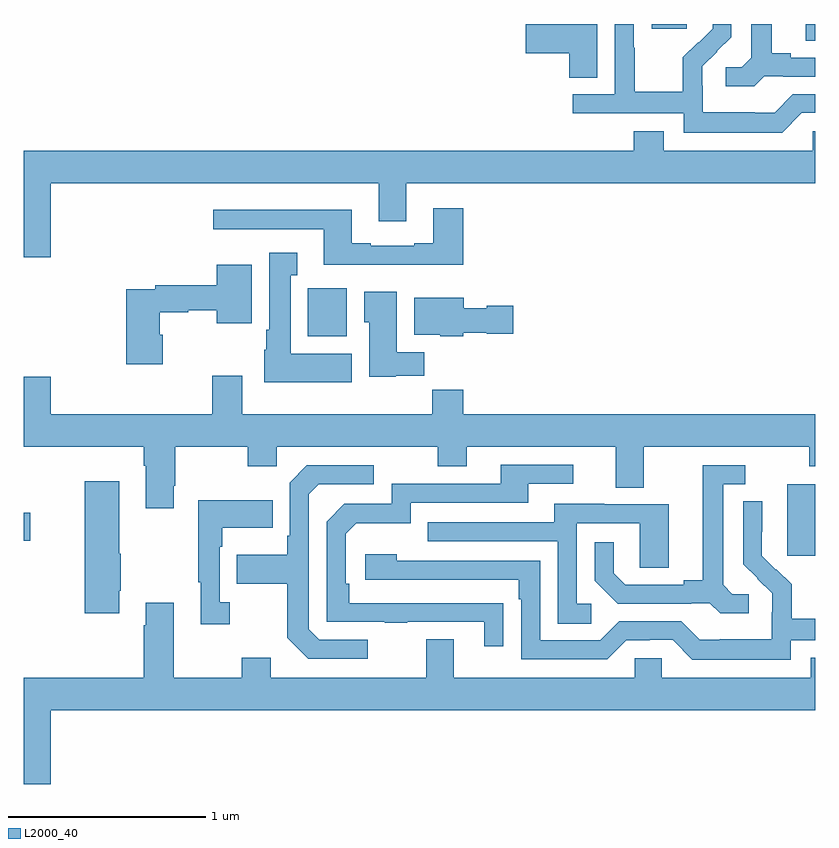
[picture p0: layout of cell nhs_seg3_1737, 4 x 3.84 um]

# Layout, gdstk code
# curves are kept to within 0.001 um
import gdstk
lib = gdstk.Library(unit=1e-6, precision=1e-09)
def R(c, l, rs):  # rectangles x0, y0, x1, y1
    for r in rs: c.add(gdstk.rectangle(r[:2], r[2:], *l))
def P(c, l, *ps):  # polygons
    for p in ps: c.add(gdstk.Polygon(p, *l))
L2000_40 = (2000, 40)

nhs_seg3_1737 = lib.new_cell('nhs_seg3_1737')
R(nhs_seg3_1737, L2000_40, [(204.86,685.713,205,686.074), (201,685.787,201.031,685.929), (202.436,686.822,202.633,687.064), (204.953,688.315,205,688.4), (204.173,688.377,204.352,688.4)])
P(nhs_seg3_1737, L2000_40, [(204.744,688.137),(204.838,688.137),(204.838,688.134),(205,688.134),(205,688.23),(204.877,688.23),(204.877,688.253),(204.781,688.253),(204.781,688.4),(204.677,688.4),(204.677,688.229),(204.63,688.182),(204.549,688.182),(204.549,688.085),(204.692,688.085)],
  [(204.933,687.951),(205,687.951),(205,688.044),(204.888,688.044),(204.795,687.951),(204.695,687.951),(204.695,687.955),(204.432,687.955),(204.432,688.089),(204.43,688.089),(204.43,688.186),(204.576,688.334),(204.576,688.4),(204.482,688.4),(204.482,688.376),(204.411,688.305),(204.408,688.308),(204.331,688.231),(204.331,688.057),(204.087,688.057),(204.087,688.28),(204.084,688.28),(204.084,688.4),(203.988,688.4),(203.988,688.044),(203.775,688.044),(203.775,687.948),(204.336,687.948),(204.336,687.851),(204.833,687.851)],
  [(203.899,688.4),(203.538,688.4),(203.538,688.253),(203.756,688.253),(203.756,688.129),(203.899,688.129)],
  [(201.136,687.596),(202.793,687.596),(202.793,687.402),(202.933,687.402),(202.933,687.596),(205,687.596),(205,687.858),(204.987,687.858),(204.987,687.76),(204.235,687.76),(204.235,687.859),(204.083,687.859),(204.083,687.76),(201,687.76),(201,687.222),(201.136,687.222)],
  [(203.222,687.469),(203.069,687.469),(203.069,687.292),(202.973,687.292),(202.973,687.279),(202.753,687.279),(202.753,687.292),(202.657,687.292),(202.657,687.46),(201.957,687.46),(201.957,687.363),(202.517,687.363),(202.517,687.182),(203.222,687.182)],
  [(202.657,686.734),(202.348,686.734),(202.348,687.131),(202.381,687.131),(202.381,687.244),(202.241,687.244),(202.241,686.854),(202.226,686.854),(202.226,686.754),(202.214,686.754),(202.214,686.588),(202.657,686.588)],
  [(201.701,686.829),(201.688,686.829),(201.688,686.944),(201.831,686.944),(201.831,686.952),(201.974,686.952),(201.974,686.888),(202.153,686.888),(202.153,687.184),(201.974,687.184),(201.974,687.08),(201.664,687.08),(201.664,687.06),(201.518,687.06),(201.518,686.679),(201.701,686.679)],
  [(202.881,686.622),(203.024,686.622),(203.024,686.74),(202.885,686.74),(202.885,687.046),(202.721,687.046),(202.721,686.892),(202.745,686.892),(202.745,686.618),(202.881,686.618)],
  [(203.22,686.84),(203.34,686.84),(203.34,686.833),(203.473,686.833),(203.473,686.975),(203.34,686.975),(203.34,686.962),(203.224,686.962),(203.224,687.016),(202.973,687.016),(202.973,686.828),(203.106,686.828),(203.106,686.822),(203.22,686.822)],
  [(201.757,686.065),(201.765,686.065),(201.765,686.264),(202.132,686.264),(202.132,686.165),(202.278,686.165),(202.278,686.264),(203.092,686.264),(203.092,686.165),(203.239,686.165),(203.239,686.264),(203.993,686.264),(203.993,686.056),(204.133,686.056),(204.133,686.264),(204.97,686.264),(204.97,686.165),(205,686.165),(205,686.428),(203.222,686.428),(203.222,686.552),(203.065,686.552),(203.065,686.428),(202.105,686.428),(202.105,686.623),(201.953,686.623),(201.953,686.428),(201.136,686.428),(201.136,686.617),(201,686.617),(201,686.264),(201.605,686.264),(201.605,686.168),(201.617,686.168),(201.617,685.953),(201.757,685.953)],
  [(203.423,685.472),(202.646,685.473),(202.646,685.57),(202.626,685.57),(202.626,685.824),(202.679,685.877),(202.956,685.877),(202.956,685.98),(203.551,685.98),(203.551,686.076),(203.776,686.076),(203.776,686.172),(203.411,686.172),(203.411,686.076),(202.86,686.076),(202.86,685.974),(202.62,685.974),(202.53,685.884),(202.53,685.377),(202.825,685.377),(202.825,685.372),(202.937,685.372),(202.937,685.377),(203.327,685.377),(203.327,685.254),(203.423,685.254)],
  [(204.664,685.518),(204.582,685.518),(204.535,685.565),(204.535,686.073),(204.646,686.073),(204.646,686.169),(204.431,686.169),(204.431,685.589),(204.335,685.589),(204.335,685.566),(204.04,685.566),(203.983,685.623),(203.983,685.78),(203.886,685.78),(203.886,685.586),(204.002,685.47),(204.374,685.47),(204.374,685.473),(204.468,685.473),(204.52,685.421),(204.664,685.421)],
  [(202.738,685.287),(202.494,685.287),(202.44,685.341),(202.44,686.022),(202.491,686.073),(202.768,686.073),(202.768,686.169),(202.431,686.169),(202.344,686.082),(202.344,685.813),(202.332,685.813),(202.332,685.717),(202.075,685.717),(202.075,685.57),(202.332,685.57),(202.332,685.297),(202.437,685.191),(202.738,685.191)],
  [(201.481,685.534),(201.489,685.534),(201.489,685.723),(201.481,685.723),(201.481,686.089),(201.308,686.089),(201.308,685.422),(201.481,685.422)],
  [(202.042,685.478),(201.99,685.478),(201.99,685.757),(202.003,685.757),(202.003,685.853),(202.259,685.853),(202.259,685.993),(201.882,685.993),(201.882,685.577),(201.893,685.577),(201.893,685.365),(202.042,685.365)],
  [(204.876,685.284),(205,685.284),(205,685.393),(204.881,685.393),(204.881,685.567),(204.804,685.644),(204.801,685.641),(204.731,685.712),(204.732,685.988),(204.636,685.988),(204.636,685.67),(204.782,685.522),(204.782,685.425),(204.78,685.425),(204.78,685.291),(204.517,685.291),(204.517,685.287),(204.417,685.287),(204.324,685.38),(204.009,685.38),(203.913,685.284),(203.61,685.284),(203.61,685.686),(202.886,685.686),(202.886,685.72),(202.725,685.72),(202.725,685.59),(203.501,685.59),(203.501,685.493),(203.514,685.493),(203.514,685.188),(203.949,685.188),(204.045,685.284),(204.164,685.284),(204.164,685.287),(204.279,685.287),(204.379,685.187),(204.876,685.187)],
  [(203.869,685.47),(203.796,685.47),(203.796,685.875),(204.114,685.875),(204.114,685.651),(204.259,685.651),(204.259,685.971),(203.935,685.971),(203.935,685.975),(203.681,685.975),(203.681,685.881),(203.041,685.881),(203.041,685.785),(203.7,685.785),(203.7,685.369),(203.869,685.369)],
  [(201.136,684.932),(205,684.932),(205,685.195),(204.977,685.195),(204.977,685.096),(204.225,685.096),(204.225,685.194),(204.087,685.194),(204.087,685.096),(203.173,685.096),(203.173,685.291),(203.033,685.291),(203.033,685.096),(202.249,685.096),(202.249,685.195),(202.102,685.195),(202.102,685.096),(201.757,685.096),(201.757,685.474),(201.617,685.474),(201.617,685.361),(201.605,685.361),(201.605,685.096),(201,685.096),(201,684.558),(201.136,684.558)])

lib.write_gds('nhs_seg3_1737.gds')
